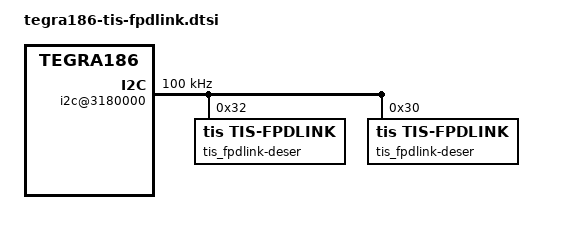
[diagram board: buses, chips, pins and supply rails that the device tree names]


/ {
    i2c@3180000 {
        clock-frequency = <100000>;

        // Connected to IMX290
        tis_fpdlink-deser@32 {
            compatible = "tis,tis-fpdlink", "tis,tis-fpdlink-deser";
            status = "okay";
            reg = <0x32>;
            #address-cells = <1>;
            #size-cells = <0>;
            clkout_ctrl1 = /bits/ 8 <0x41>;
            clkout_ctrl2 = /bits/ 8 <0x19>;
            slave_addr = /bits/ 8 <0x1a>;
            slave_map_addr = /bits/ 8 <0x1a>;
            ser_map_addr = /bits/ 8 <0x18>;
        };

        // Connected to IMX219
        tis_fpdlink-deser@30 {
            compatible = "tis,tis-fpdlink", "tis,tis-fpdlink-deser";
            status = "okay";
            reg = <0x30>;
            #address-cells = <1>;
            #size-cells = <0>;
            clkout_ctrl1 = /bits/ 8 <0x21>;
            clkout_ctrl2 = /bits/ 8 <0x28>;
            slave_addr = /bits/ 8 <0x10>;
            slave_map_addr = /bits/ 8 <0x10>;
            ser_map_addr = /bits/ 8 <0x20>;
            ser_i2c_setup = /bits/ 8 <0x0d 0x0 0x0e 0x03>;
        };
    };
};
